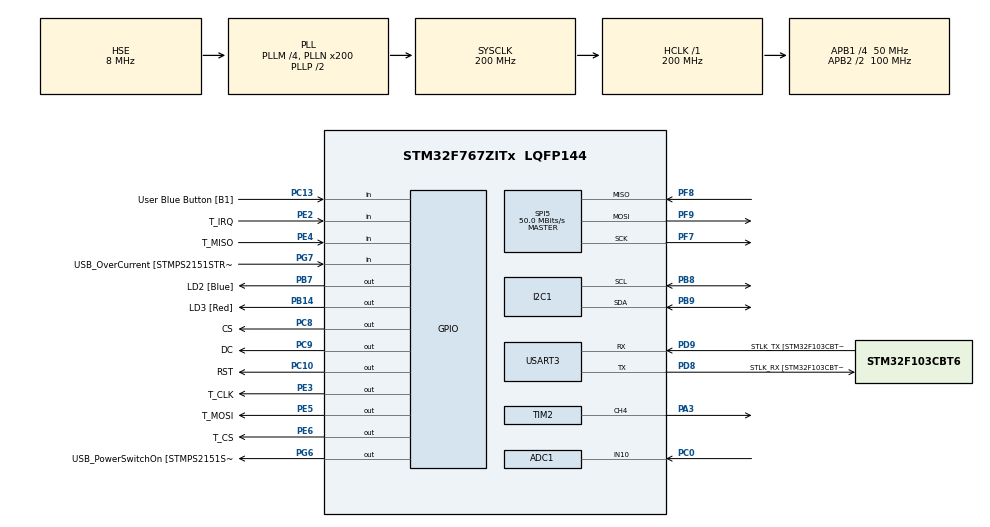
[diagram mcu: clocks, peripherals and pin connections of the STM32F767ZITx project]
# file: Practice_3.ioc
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ADC1.Channel-0\#ChannelRegularConversion=ADC_CHANNEL_10
ADC1.ContinuousConvMode=ENABLE
ADC1.EOCSelection=ADC_EOC_SEQ_CONV
ADC1.NbrOfConversionFlag=1
ADC1.Rank-0\#ChannelRegularConversion=1
ADC1.SamplingTime-0\#ChannelRegularConversion=ADC_SAMPLETIME_3CYCLES
ADC1.master=1
CORTEX_M7.ART_ACCLERATOR_ENABLE=1
CORTEX_M7.CPU_DCache=Enabled
CORTEX_M7.CPU_ICache=Enabled
CORTEX_M7.PREFETCH_ENABLE=1
I2C1.Timing=0x00C0EAFF
Mcu.Family=STM32F7
Mcu.Name=STM32F767ZITx
Mcu.Package=LQFP144
NVIC.PriorityGroup=NVIC_PRIORITYGROUP_4
NVIC.TIM1_UP_TIM10_IRQn=true\:1\:0\:true\:false\:true\:true\:true\:true
NVIC.TIM2_IRQn=true\:2\:0\:true\:false\:true\:true\:true\:true
PA1.GPIO_Label=RMII_REF_CLK [LAN8742A-CZ-TR_REFCLK0]
PA1.Signal=ETH_REF_CLK
PA13.GPIO_Label=TMS
PA13.Mode=Serial_Wire
PA13.Signal=SYS_JTMS-SWDIO
PA14.GPIO_Label=TCK
PA14.Mode=Serial_Wire
PA14.Signal=SYS_JTCK-SWCLK
PA2.GPIO_Label=RMII_MDIO [LAN8742A-CZ-TR_MDIO]
PA2.Signal=ETH_MDIO
PA3.GPIO_Speed=GPIO_SPEED_FREQ_LOW
PA3.Signal=S_TIM2_CH4
PA7.GPIO_Label=RMII_CRS_DV [LAN8742A-CZ-TR_CRS_DV]
PA7.Signal=ETH_CRS_DV
PB13.GPIO_Label=RMII_TXD1 [LAN8742A-CZ-TR_TXD1]
PB13.Signal=ETH_TXD1
PB14.GPIO_Label=LD3 [Red]
PB14.Signal=GPIO_Output
PB3.GPIO_Label=SWO
PB3.Signal=SYS_JTDO-SWO
PB7.GPIO_Label=LD2 [Blue]
PB7.Signal=GPIO_Output
PB8.Mode=I2C
PB8.Signal=I2C1_SCL
PB9.Mode=I2C
PB9.Signal=I2C1_SDA
PC0.Signal=ADCx_IN10
PC1.GPIO_Label=RMII_MDC [LAN8742A-CZ-TR_MDC]
PC1.Signal=ETH_MDC
PC10.GPIO_Label=RST
PC10.GPIO_Speed=GPIO_SPEED_FREQ_VERY_HIGH
PC10.Signal=GPIO_Output
PC13.GPIO_Label=User Blue Button [B1]
PC13.Signal=GPIO_Input
PC14/OSC32_IN.Mode=LSE-External-Oscillator
PC14/OSC32_IN.Signal=RCC_OSC32_IN
PC15/OSC32_OUT.Mode=LSE-External-Oscillator
PC15/OSC32_OUT.Signal=RCC_OSC32_OUT
PC4.GPIO_Label=RMII_RXD0 [LAN8742A-CZ-TR_RXD0]
PC4.Signal=ETH_RXD0
PC5.GPIO_Label=RMII_RXD1 [LAN8742A-CZ-TR_RXD1]
PC5.Signal=ETH_RXD1
PC8.GPIO_Label=CS
PC8.GPIO_Speed=GPIO_SPEED_FREQ_VERY_HIGH
PC8.Signal=GPIO_Output
PC9.GPIO_Label=DC
PC9.GPIO_Speed=GPIO_SPEED_FREQ_VERY_HIGH
PC9.Signal=GPIO_Output
PD8.GPIO_Label=STLK_RX [STM32F103CBT6_PA3]
PD8.Mode=Asynchronous
PD8.Signal=USART3_TX
PD9.GPIO_Label=STLK_TX [STM32F103CBT6_PA2]
PD9.Mode=Asynchronous
PD9.Signal=USART3_RX
PE2.GPIO_Label=T_IRQ
PE2.Signal=GPIO_Input
PE3.GPIO_Label=T_CLK
PE3.GPIO_Speed=GPIO_SPEED_FREQ_VERY_HIGH
PE3.Signal=GPIO_Output
PE4.GPIO_Label=T_MISO
PE4.Signal=GPIO_Input
PE5.GPIO_Label=T_MOSI
PE5.GPIO_Speed=GPIO_SPEED_FREQ_VERY_HIGH
PE5.Signal=GPIO_Output
PE6.GPIO_Label=T_CS
PE6.GPIO_Speed=GPIO_SPEED_FREQ_VERY_HIGH
PE6.Signal=GPIO_Output
PF7.Mode=Full_Duplex_Master
PF7.Signal=SPI5_SCK
PF8.Mode=Full_Duplex_Master
PF8.Signal=SPI5_MISO
PF9.Mode=Full_Duplex_Master
PF9.Signal=SPI5_MOSI
PG11.GPIO_Label=RMII_TX_EN [LAN8742A-CZ-TR_TXEN]
PG11.Signal=ETH_TX_EN
PG13.GPIO_Label=RMII_TXD0 [LAN8742A-CZ-TR_TXD0]
PG13.Signal=ETH_TXD0
PG6.GPIO_Label=USB_PowerSwitchOn [STMPS2151STR_EN]
PG6.Signal=GPIO_Output
PG7.GPIO_Label=USB_OverCurrent [STMPS2151STR_FAULT]
PG7.Signal=GPIO_Input
PH0/OSC_IN.GPIO_Label=MCO [STM32F103CBT6_PA8]
PH0/OSC_IN.Mode=HSE-External-Clock-Source
PH0/OSC_IN.Signal=RCC_OSC_IN
PH1/OSC_OUT.Mode=HSE-External-Clock-Source
PH1/OSC_OUT.Signal=RCC_OSC_OUT
ProjectManager.HeapSize=0x200
ProjectManager.StackSize=0x400
ProjectManager.TargetToolchain=STM32CubeIDE
RCC.48MHZClocksFreq_Value=24000000
RCC.AHBFreq_Value=200000000
RCC.APB1CLKDivider=RCC_HCLK_DIV4
RCC.APB1Freq_Value=50000000
RCC.APB1TimFreq_Value=100000000
RCC.APB2CLKDivider=RCC_HCLK_DIV2
RCC.APB2Freq_Value=100000000
RCC.APB2TimFreq_Value=200000000
RCC.CortexFreq_Value=200000000
RCC.HCLKFreq_Value=200000000
RCC.HSE_VALUE=8000000
RCC.HSI_VALUE=16000000
RCC.PLLM=4
RCC.PLLMUL=RCC_PLL_MUL9
RCC.PLLN=200
RCC.PLLQ=9
RCC.PLLSourceVirtual=RCC_PLLSOURCE_HSE
RCC.PRESCALERUSB=RCC_USBCLKSOURCE_PLL_DIV1_5
RCC.SYSCLKFreq_VALUE=200000000
RCC.SYSCLKSource=RCC_SYSCLKSOURCE_PLLCLK
RCC.SYSCLKSourceVirtual=RCC_SYSCLKSOURCE_PLLCLK
RCC.USBFreq_Value=44444444.44444445
RCC.VCOOutputFreq_Value=400000000
SH.ADCx_IN10.0=ADC1_IN10,IN10
SH.S_TIM2_CH4.0=TIM2_CH4,PWM Generation4 CH4
SPI5.CalculateBaudRate=50.0 MBits/s
SPI5.DataSize=SPI_DATASIZE_8BIT
SPI5.Direction=SPI_DIRECTION_2LINES
SPI5.Mode=SPI_MODE_MASTER
SPI5.NSSPMode=SPI_NSS_PULSE_DISABLE
SPI5.VirtualType=VM_MASTER
TIM1.ClockDivision=TIM_CLOCKDIVISION_DIV1
TIM1.Period=65536-1
TIM1.Prescaler=20000-1
TIM2.Channel-PWM\ Generation4\ CH4=TIM_CHANNEL_4
TIM2.Period=199
TIM2.Prescaler=539
USART3.VirtualMode-Asynchronous=VM_ASYNC
VP_RNG_VS_RNG.Mode=RNG_Activate
VP_TIM1_VS_ClockSourceINT.Mode=Internal
VP_TIM2_VS_ClockSourceINT.Mode=Internal
board=NUCLEO-F767ZI

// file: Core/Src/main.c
/* USER CODE BEGIN Header */
/**
  ******************************************************************************
  * @file           : main.c
  * @brief          : Main program body
  ******************************************************************************
  * @attention
  *
  * Copyright (c) 2024 STMicroelectronics.
  * All rights reserved.
  *
  * This software is licensed under terms that can be found in the LICENSE file
  * in the root directory of this software component.
  * If no LICENSE file comes with this software, it is provided AS-IS.
  *
  ******************************************************************************
  */
/* USER CODE END Header */
#include "main.h"
#include "adc.h"
#include "i2c.h"
#include "rng.h"
#include "spi.h"
#include "tim.h"
#include "usart.h"
#include "gpio.h"

/* USER CODE BEGIN Includes */
#include "stdio.h"
#include "ILI9341_Touchscreen.h"

#include "ILI9341_STM32_Driver.h"
#include "ILI9341_GFX.h"

#include "snow_tiger.h"

#include "string.h"
#include <stdlib.h>
#include "stm32f7xx_hal.h"
#include "stdbool.h"
/* USER CODE END Includes */

void SystemClock_Config(void);

/* USER CODE BEGIN 0 */
volatile uint32_t adc_val = 0;
int dutyCycle = 0;
int debug = 0;
uint32_t timer = 0;
int swing = 0;

/* USER CODE END 0 */

int main(void)
{

  /* Enable the CPU Cache */

  /* Enable I-Cache---------------------------------------------------------*/
  SCB_EnableICache();

  /* Enable D-Cache---------------------------------------------------------*/
  SCB_EnableDCache();

  /* MCU Configuration--------------------------------------------------------*/

  /* Reset of all peripherals, Initializes the Flash interface and the Systick. */
  HAL_Init();

  /* Configure the system clock */
  SystemClock_Config();

  /* Initialize all configured peripherals */
  MX_GPIO_Init();
  MX_SPI5_Init();
  MX_TIM1_Init();
  MX_RNG_Init();
  MX_I2C1_Init();
  MX_TIM2_Init();
  MX_ADC1_Init();
  MX_USART3_UART_Init();
  /* USER CODE BEGIN 2 */
  ILI9341_Init();
  HAL_TIM_Base_Start_IT(&htim2);
  HAL_ADC_Start(&hadc1);
  ILI9341_Fill_Screen(WHITE);
  ILI9341_Set_Rotation(SCREEN_HORIZONTAL_1);
  /* USER CODE END 2 */

  /* Infinite loop */
  while (1)
  {

    /* USER CODE BEGIN 3 */
	while(HAL_ADC_PollForConversion(&hadc1, 100) != HAL_OK) {}
	adc_val = HAL_ADC_GetValue(&hadc1);

	// 25% - 80%
	// adc -> 0 - 55
	// 4096 / 55 -> 74
	// 4096 / 11 -> 372
	// adc / 74 + 25
	debug = adc_val / 372;
	dutyCycle = ((adc_val / 372) * 5) + 25;
	char buffer[1000];

//	HAL_TIM_PWM_Stop(&htim2, TIM_CHANNEL_1);
	htim2.Instance -> CCR4 = 199 * (dutyCycle / 100.0);
	HAL_TIM_PWM_Start(&htim2, TIM_CHANNEL_4);

	snprintf(buffer, sizeof(buffer), "%d %%", dutyCycle);
	if (dutyCycle >= 25 && dutyCycle <= 45) {
		ILI9341_Draw_Text(buffer, 110, 85, YELLOW, 2, GREEN);
	} else if (dutyCycle >= 50 && dutyCycle <= 65) {
		ILI9341_Draw_Text(buffer, 110, 85, BLUE, 2, YELLOW);
	} else if (dutyCycle >= 70 && dutyCycle <= 80) {
		if (swing) {
			ILI9341_Draw_Text(buffer, 110, 85, RED, 2, CYAN);
		} else {
			ILI9341_Draw_Text(buffer, 110, 85, CYAN, 2, CYAN);
		}

//		HAL_Delay(300);
//
//		HAL_Delay(300);
	}

	HAL_Delay(20);

  }
  /* USER CODE END 3 */
}

void SystemClock_Config(void)
{
  RCC_OscInitTypeDef RCC_OscInitStruct = {0};
  RCC_ClkInitTypeDef RCC_ClkInitStruct = {0};

  /** Configure LSE Drive Capability
  */
  HAL_PWR_EnableBkUpAccess();

  /** Configure the main internal regulator output voltage
  */
  __HAL_RCC_PWR_CLK_ENABLE();
  __HAL_PWR_VOLTAGESCALING_CONFIG(PWR_REGULATOR_VOLTAGE_SCALE1);

  /** Initializes the RCC Oscillators according to the specified parameters
  * in the RCC_OscInitTypeDef structure.
  */
  RCC_OscInitStruct.OscillatorType = RCC_OSCILLATORTYPE_HSE;
  RCC_OscInitStruct.HSEState = RCC_HSE_BYPASS;
  RCC_OscInitStruct.PLL.PLLState = RCC_PLL_ON;
  RCC_OscInitStruct.PLL.PLLSource = RCC_PLLSOURCE_HSE;
  RCC_OscInitStruct.PLL.PLLM = 4;
  RCC_OscInitStruct.PLL.PLLN = 200;
  RCC_OscInitStruct.PLL.PLLP = RCC_PLLP_DIV2;
  RCC_OscInitStruct.PLL.PLLQ = 9;
  RCC_OscInitStruct.PLL.PLLR = 2;
  if (HAL_RCC_OscConfig(&RCC_OscInitStruct) != HAL_OK)
  {
    Error_Handler();
  }

  /** Activate the Over-Drive mode
  */
  if (HAL_PWREx_EnableOverDrive() != HAL_OK)
  {
    Error_Handler();
  }

  /** Initializes the CPU, AHB and APB buses clocks
  */
  RCC_ClkInitStruct.ClockType = RCC_CLOCKTYPE_HCLK|RCC_CLOCKTYPE_SYSCLK
                              |RCC_CLOCKTYPE_PCLK1|RCC_CLOCKTYPE_PCLK2;
  RCC_ClkInitStruct.SYSCLKSource = RCC_SYSCLKSOURCE_PLLCLK;
  RCC_ClkInitStruct.AHBCLKDivider = RCC_SYSCLK_DIV1;
  RCC_ClkInitStruct.APB1CLKDivider = RCC_HCLK_DIV4;
  RCC_ClkInitStruct.APB2CLKDivider = RCC_HCLK_DIV2;

  if (HAL_RCC_ClockConfig(&RCC_ClkInitStruct, FLASH_LATENCY_6) != HAL_OK)
  {
    Error_Handler();
  }
}

void Error_Handler(void)
{
  __disable_irq();
  while (1)
  {
  }
}
